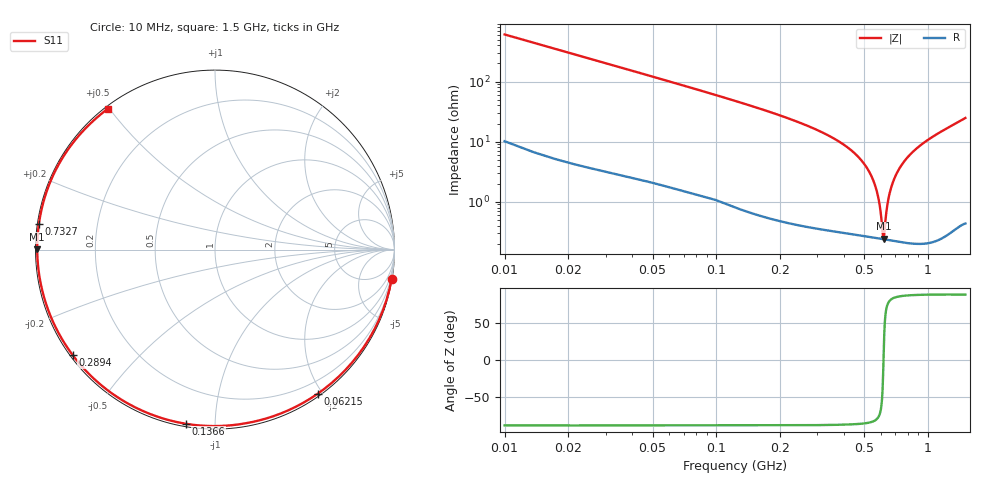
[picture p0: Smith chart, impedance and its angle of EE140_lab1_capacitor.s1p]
! Touchstone file exported from HFSS 2026.1.0
!  File:  C:/Users/017978376/Downloads/EE140L-main/EE140L-main/lab1b_capacitor/EE140_lab1b_capacitor.aedt
!  Generated:  06:32:58 PM Sep 25, 2026
!  Design:  HFSSDesign1
!  Project:  EE140_lab1b_capacitor
!  Setup:  Setup1
!  Solution:  Sweep
! Variables:
!  $h = 1.6mm
!  cu_th = 0.035mm
!  er = 4.4
!  h = 1.6mm
!  w = 3mm
# GHz S MA R 50.000000
! Terminal data exported
! Port[1] = 1
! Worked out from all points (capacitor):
!   401 points, 10 MHz to 1.5 GHz, reference 50 ohm
!   read as one part to ground: C = 26.2 pF near 17.45 MHz
!   lowest |Z| = 242 mohm at 617.2 MHz (marker M1)
!   series resonance near 615.6 MHz, so ESL is about 2.6 nH
!   S11 on the Smith chart (normalised r, x): 10 MHz: 0, -12; 62.15 MHz: 0.03, -1.94; 136.7 MHz: 0.01, -0.85; 289.4 MHz: 0.01, -0.33; 732.6 MHz: 0.00, +0.07; 1.5 GHz: 0.01, +0.50
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0.01  0.9973 -9.4
! Gamma 0 0
! Port Impedance 50 0
0.01745  0.9959 -16.3
0.03235  0.9922 -29.9
0.04725  0.9886 -42.7
0.06215  0.986 -54.6
0.07705  0.9842 -65.5
0.0845  0.9835 -70.6
0.095675  0.9828 -77.7
0.1143  0.9831 -88.4
0.13665  0.9839 -99.4
0.15155  0.9843 -105.9
0.16645  0.9847 -111.7
0.19625  0.9855 -121.6
0.2186  0.9859 -128.0
0.24095  0.9863 -133.5
0.2633  0.9867 -138.5
0.289375  0.987 -143.5
0.334075  0.9876 -151.0
0.3825  0.9882 -157.7
0.46445  0.9891 -166.9
0.56875  0.9901 -176.3
0.617175  0.9906 179.9
0.73265  0.9915 171.8
0.755  0.9917 170.3
0.94125  0.9923 159.1
1.1275  0.9914 148.6
1.31375  0.9887 138.3
1.5  0.9862 127.3
